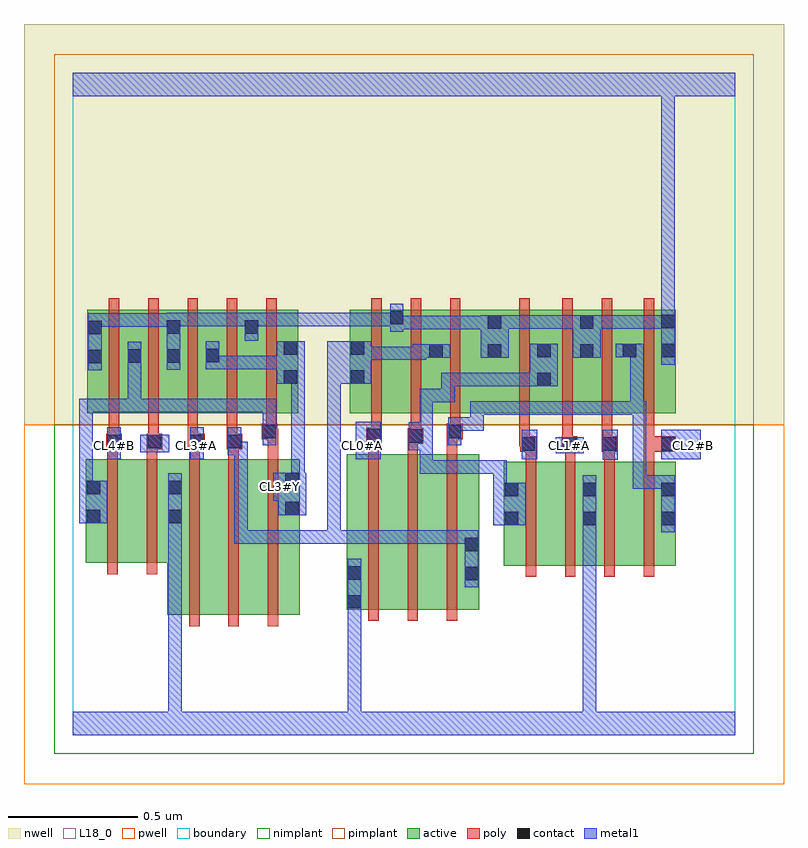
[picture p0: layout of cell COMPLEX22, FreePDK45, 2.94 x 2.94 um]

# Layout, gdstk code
import gdstk
lib = gdstk.Library(unit=1e-6, precision=1e-09)
def R(c, l, rs):  # rectangles x0, y0, x1, y1
    for r in rs: c.add(gdstk.rectangle(r[:2], r[2:], *l))
def A(c, l, x, y, w, h, nx, ny, dx, dy):  # array of equal rectangles
    R(c, l, [(x+i*dx, y+j*dy, x+i*dx+w, y+j*dy+h) for i in range(nx) for j in range(ny)])
active = (1, 0)
pwell = (2, 0)
nwell = (3, 0)
nimplant = (4, 0)
pimplant = (5, 0)
poly = (9, 0)
contact = (10, 0)
metal1 = (11, 0)
L18_0 = (18, 0)
boundary = (235, 0)

complex22 = lib.new_cell('COMPLEX22')
A(complex22, active, 1.07, 1.244, 0.06, 0.4, 3, 1, 0.152, 0)
A(complex22, active, 1.79, 1.244, 0.06, 0.4, 3, 1, 0.166, 0)
R(complex22, active, [(0.366,0.466,0.546,1.066), (0.546,0.466,0.698,1.066), (0.698,0.466,0.878,1.066), (1.058,0.486,1.238,1.086), (1.058,0.486,1.118,0.818), (1.238,0.486,1.39,1.086), (1.39,0.486,1.57,1.086), (1.51,0.504,1.57,1.086), (0.818,0.556,0.878,1.066), (1.666,0.656,1.846,1.056), (1.846,0.656,2.026,1.056), (1.966,0.656,2.15,1.056), (2.15,0.656,2.33,1.056), (2.27,0.656,2.33,1.056), (0.05,0.666,0.11,1.066), (0.05,0.666,0.23,1.066), (0.23,0.666,0.426,1.066), (0.366,0.756,0.426,0.988), (1.666,0.756,1.726,1.056), (1.966,0.756,2.026,0.98), (0.056,1.244,0.116,1.644), (0.056,1.244,0.268,1.644), (0.208,1.244,0.42,1.644), (0.36,1.244,0.57,1.644), (0.51,1.244,0.72,1.644), (0.66,1.244,0.872,1.644), (0.812,1.244,0.872,1.644), (1.07,1.244,1.282,1.644), (1.222,1.244,1.434,1.644), (1.374,1.244,1.66,1.644), (1.6,1.244,1.66,1.644), (1.6,1.244,1.85,1.644), (1.79,1.244,2.016,1.644), (1.956,1.244,2.182,1.644), (2.122,1.244,2.33,1.644), (2.27,1.244,2.33,1.644), (0.51,1.31,0.57,1.644), (0.36,1.338,0.42,1.644), (0.208,1.436,0.268,1.644), (0.66,1.548,0.72,1.644)])
R(complex22, pwell, [(-0.188,-0.188,2.748,1.2)])
R(complex22, nwell, [(-0.188,1.2,2.748,2.748)])
R(complex22, nimplant, [(-0.072,-0.072,2.632,1.2)])
R(complex22, pimplant, [(-0.072,1.2,2.632,2.632)])
A(complex22, poly, 0.45, 0.422, 0.04, 0.688, 3, 1, 0.152, 0)
A(complex22, poly, 1.142, 0.442, 0.04, 0.688, 3, 1, 0.152, 0)
A(complex22, poly, 1.75, 0.612, 0.04, 0.488, 4, 1, 0.152, 0)
A(complex22, poly, 1.75, 1.06, 0.04, 0.076, 4, 1, 0.152, 0)
A(complex22, poly, 0.14, 1.126, 0.04, 0.114, 4, 1, 0.152, 0)
A(complex22, poly, 0.14, 1.2, 0.04, 0.488, 5, 1, 0.152, 0)
A(complex22, poly, 1.154, 1.2, 0.04, 0.488, 3, 1, 0.152, 0)
R(complex22, poly, [(0.134,0.622,0.174,1.11), (0.286,0.622,0.326,1.11), (0.134,1.07,0.174,1.146), (0.286,1.07,0.326,1.146), (0.45,1.07,0.49,1.146), (0.602,1.07,0.642,1.146), (0.754,1.07,0.794,1.184), (1.142,1.09,1.182,1.168), (1.294,1.09,1.334,1.166), (1.446,1.09,1.486,1.166), (1.73,1.096,1.79,1.156), (1.89,1.096,1.95,1.156), (2.044,1.096,2.104,1.156), (2.206,1.096,2.33,1.156), (0.13,1.106,0.19,1.166), (0.286,1.106,0.346,1.166), (0.444,1.106,0.51,1.166), (0.596,1.106,0.656,1.166), (1.726,1.116,1.766,1.24), (1.726,1.116,1.77,1.156), (1.73,1.116,1.77,1.156), (1.892,1.116,1.932,1.24), (1.892,1.116,1.932,1.156), (1.892,1.116,1.932,1.156), (2.044,1.116,2.084,1.24), (2.044,1.116,2.084,1.156), (2.044,1.116,2.084,1.156), (2.206,1.116,2.246,1.24), (2.206,1.116,2.246,1.156), (2.206,1.116,2.246,1.156), (0.14,1.126,0.18,1.166), (0.14,1.126,0.18,1.166), (0.292,1.126,0.332,1.166), (0.292,1.126,0.332,1.166), (0.444,1.126,0.484,1.166), (0.444,1.126,0.484,1.166), (0.596,1.126,0.636,1.166), (0.596,1.126,0.636,1.166), (1.294,1.126,1.354,1.186), (1.446,1.126,1.486,1.166), (1.446,1.126,1.486,1.184), (1.134,1.128,1.194,1.188), (1.142,1.128,1.182,1.168), (1.142,1.128,1.182,1.168), (0.73,1.144,0.79,1.204), (0.75,1.144,0.79,1.184), (0.75,1.144,0.794,1.184), (1.446,1.144,1.506,1.204), (1.306,1.146,1.346,1.204), (1.154,1.148,1.194,1.24), (0.748,1.164,0.788,1.24), (1.306,1.164,1.346,1.204), (1.306,1.164,1.346,1.24), (1.458,1.164,1.498,1.24), (1.726,1.2,1.766,1.688), (1.892,1.2,1.932,1.688), (2.044,1.2,2.084,1.688), (2.206,1.2,2.246,1.688)])
R(complex22, contact, [(1.062,0.49,1.114,0.542), (1.514,0.6,1.566,0.652), (1.062,0.602,1.114,0.654), (1.514,0.712,1.566,0.764), (1.67,0.812,1.722,0.864), (1.97,0.812,2.022,0.864), (2.274,0.812,2.326,0.864), (0.054,0.82,0.106,0.872), (0.37,0.82,0.422,0.872), (0.822,0.85,0.874,0.902), (1.67,0.924,1.722,0.976), (1.97,0.924,2.022,0.976), (2.274,0.924,2.326,0.976), (0.054,0.932,0.106,0.984), (0.37,0.932,0.422,0.984), (0.822,0.962,0.874,1.014), (1.734,1.1,1.786,1.152), (1.894,1.1,1.946,1.152), (2.048,1.1,2.1,1.152), (2.274,1.1,2.326,1.152), (0.134,1.11,0.186,1.162), (0.29,1.11,0.342,1.162), (0.454,1.11,0.506,1.162), (0.6,1.11,0.652,1.162), (1.298,1.13,1.35,1.182), (1.138,1.132,1.19,1.184), (0.734,1.148,0.786,1.2), (1.45,1.148,1.502,1.2), (1.794,1.348,1.846,1.4), (0.816,1.358,0.868,1.41), (1.074,1.358,1.126,1.41), (0.06,1.438,0.112,1.49), (0.212,1.44,0.264,1.492), (0.364,1.44,0.416,1.492), (0.514,1.442,0.566,1.494), (1.378,1.458,1.43,1.51), (1.604,1.458,1.656,1.51), (1.96,1.458,2.012,1.51), (1.794,1.46,1.846,1.512), (2.126,1.46,2.178,1.512), (2.274,1.46,2.326,1.512), (0.816,1.47,0.868,1.522), (1.074,1.47,1.126,1.522), (0.06,1.55,0.112,1.602), (0.364,1.552,0.416,1.604), (0.664,1.552,0.716,1.604), (1.604,1.57,1.656,1.622), (1.96,1.57,2.012,1.622), (2.274,1.572,2.326,1.624), (1.226,1.588,1.278,1.64)])
A(complex22, metal1, 1.536, 1.238, 0.162, 0.052, 3, 1, 0.11, 0)
A(complex22, metal1, 1.646, 1.238, 0.052, 0.052, 3, 1, 0.11, 0)
R(complex22, metal1, [(0,0,2.56,0.092), (0.37,0.04,0.422,0.092), (0.37,0.04,0.422,0.092), (0.37,0.04,0.422,0.092), (0.37,0.04,0.422,0.092), (0.37,0.04,0.422,0.092), (0.37,0.04,0.422,0.092), (0.37,0.04,0.422,0.844), (1.062,0.04,1.114,0.092), (1.062,0.04,1.114,0.092), (1.062,0.04,1.114,0.092), (1.062,0.04,1.114,0.092), (1.062,0.04,1.114,0.514), (1.97,0.04,2.022,0.092), (1.97,0.04,2.022,0.092), (1.97,0.04,2.022,0.836), (1.062,0.462,1.114,0.514), (1.062,0.462,1.114,0.514), (1.062,0.462,1.114,0.514), (1.062,0.462,1.114,0.514), (1.062,0.462,1.114,0.682), (1.514,0.572,1.566,0.792), (0.624,0.74,0.676,0.792), (0.624,0.74,0.926,0.792), (0.624,0.74,0.676,1.134), (0.874,0.74,0.926,0.792), (0.874,0.74,0.926,0.792), (0.874,0.74,0.926,0.792), (0.874,0.74,1.036,0.792), (0.984,0.74,1.036,0.792), (0.984,0.74,1.036,0.792), (0.984,0.74,1.036,0.792), (0.984,0.74,1.036,0.792), (0.984,0.74,1.036,0.792), (0.984,0.74,1.036,0.792), (0.984,0.74,1.036,0.792), (0.984,0.74,1.036,0.792), (0.984,0.74,1.036,0.792), (0.984,0.74,1.264,0.792), (0.984,0.74,1.036,1.41), (1.212,0.74,1.264,0.792), (1.212,0.74,1.264,0.792), (1.212,0.74,1.264,0.792), (1.212,0.74,1.392,0.792), (1.34,0.74,1.392,0.792), (1.34,0.74,1.476,0.792), (1.424,0.74,1.476,0.792), (1.424,0.74,1.566,0.792), (1.97,0.784,2.022,0.836), (1.97,0.784,2.022,0.836), (1.97,0.784,2.022,0.836), (1.97,0.784,2.022,0.836), (1.97,0.784,2.022,0.836), (1.97,0.784,2.022,0.836), (1.97,0.784,2.022,0.836), (1.97,0.784,2.022,0.836), (1.97,0.784,2.022,0.836), (1.97,0.784,2.022,0.836), (1.97,0.784,2.022,1.004), (2.274,0.784,2.326,1.004), (0.37,0.792,0.422,0.844), (0.37,0.792,0.422,0.844), (0.37,0.792,0.422,1.012), (1.624,0.812,1.75,0.976), (0.026,0.82,0.134,0.984), (0.794,0.85,0.902,1.014), (0.774,0.906,0.896,1.014), (1.624,0.924,1.676,1.062), (0.026,0.932,0.078,1.3), (2.164,0.952,2.216,1.004), (2.164,0.952,2.326,1.004), (2.164,0.952,2.216,1.29), (2.274,0.952,2.326,1.004), (2.274,0.952,2.326,1.004), (0.822,0.962,0.874,1.014), (0.844,0.962,0.896,1.41), (1.34,1.01,1.518,1.062), (1.34,1.01,1.392,1.154), (1.466,1.01,1.518,1.062), (1.466,1.01,1.518,1.062), (1.466,1.01,1.518,1.062), (1.466,1.01,1.676,1.062), (1.624,1.01,1.676,1.062), (2.048,1.064,2.106,1.18), (0.134,1.066,0.186,1.19), (0.454,1.066,0.506,1.19), (1.094,1.066,1.19,1.212), (1.734,1.066,1.794,1.18), (2.274,1.066,2.426,1.18), (0.6,1.082,0.652,1.19), (0.6,1.082,0.676,1.134), (0.624,1.082,0.676,1.134), (0.624,1.082,0.676,1.134), (0.624,1.082,0.676,1.134), (1.866,1.09,1.974,1.152), (0.262,1.094,0.374,1.162), (1.298,1.102,1.35,1.21), (1.298,1.102,1.392,1.154), (1.34,1.102,1.392,1.154), (1.34,1.102,1.392,1.154), (1.34,1.102,1.392,1.338), (0.734,1.12,0.786,1.3), (1.45,1.12,1.502,1.228), (1.45,1.176,1.588,1.228), (1.536,1.176,1.588,1.29), (1.646,1.238,1.698,1.29), (1.646,1.238,1.698,1.29), (1.866,1.238,1.918,1.29), (1.866,1.238,1.918,1.29), (1.866,1.238,2.206,1.29), (2.154,1.238,2.206,1.29), (2.154,1.238,2.206,1.29), (2.154,1.238,2.206,1.512), (2.154,1.238,2.216,1.29), (2.164,1.238,2.216,1.29), (2.164,1.238,2.216,1.29), (0.026,1.248,0.078,1.3), (0.026,1.248,0.078,1.3), (0.026,1.248,0.078,1.3), (0.026,1.248,0.078,1.3), (0.026,1.248,0.078,1.3), (0.026,1.248,0.264,1.3), (0.212,1.248,0.264,1.3), (0.212,1.248,0.264,1.3), (0.212,1.248,0.264,1.3), (0.212,1.248,0.416,1.3), (0.212,1.248,0.264,1.464), (0.364,1.248,0.416,1.3), (0.364,1.248,0.416,1.3), (0.364,1.248,0.416,1.3), (0.364,1.248,0.526,1.3), (0.474,1.248,0.526,1.3), (0.474,1.248,0.676,1.3), (0.624,1.248,0.676,1.3), (0.624,1.248,0.676,1.3), (0.624,1.248,0.676,1.3), (0.624,1.248,0.786,1.3), (1.34,1.286,1.392,1.338), (1.34,1.286,1.476,1.338), (1.424,1.286,1.476,1.4), (1.424,1.348,1.502,1.4), (1.45,1.348,1.502,1.4), (1.45,1.348,1.628,1.4), (1.576,1.348,1.628,1.4), (1.576,1.348,1.698,1.4), (1.646,1.348,1.698,1.4), (1.646,1.348,1.818,1.4), (1.766,1.348,1.874,1.512), (0.788,1.358,0.896,1.522), (0.844,1.358,0.896,1.41), (0.844,1.358,0.896,1.41), (0.984,1.358,1.154,1.522), (0.06,1.41,0.112,1.63), (0.212,1.412,0.264,1.52), (0.364,1.412,0.416,1.632), (0.514,1.414,0.566,1.466), (0.514,1.414,0.566,1.466), (0.514,1.414,0.566,1.522), (0.514,1.414,0.716,1.466), (0.664,1.414,0.716,1.466), (0.664,1.414,0.84,1.466), (0.788,1.414,0.84,1.466), (0.788,1.414,0.84,1.466), (2.274,1.432,2.326,1.652), (1.102,1.45,1.154,1.502), (1.102,1.45,1.154,1.502), (1.102,1.45,1.282,1.502), (1.23,1.45,1.282,1.502), (1.23,1.45,1.282,1.502), (1.23,1.45,1.282,1.502), (1.23,1.45,1.366,1.502), (1.314,1.45,1.366,1.51), (1.314,1.458,1.402,1.51), (1.35,1.458,1.458,1.51), (1.576,1.458,1.684,1.622), (1.932,1.458,2.04,1.622), (2.098,1.46,2.206,1.512), (0.664,1.524,0.716,1.632), (1.226,1.56,1.278,1.668), (1.226,1.568,1.278,1.62), (1.226,1.568,1.278,1.62), (1.226,1.568,1.392,1.62), (1.34,1.568,1.392,1.62), (1.34,1.568,1.518,1.62), (1.466,1.568,1.518,1.62), (1.466,1.568,1.518,1.62), (1.466,1.568,1.518,1.62), (1.466,1.568,1.628,1.62), (1.632,1.57,1.808,1.622), (1.756,1.57,1.808,1.622), (1.756,1.57,1.808,1.622), (1.756,1.57,1.808,1.622), (1.756,1.57,1.93,1.622), (1.878,1.57,1.93,1.622), (1.878,1.57,1.984,1.622), (1.988,1.57,2.04,1.622), (1.988,1.57,2.04,1.622), (1.988,1.57,2.216,1.622), (2.164,1.57,2.216,1.622), (2.164,1.57,2.326,1.622), (2.274,1.57,2.326,1.622), (2.274,1.57,2.326,1.622), (0.06,1.578,0.112,1.63), (0.06,1.578,0.112,1.63), (0.06,1.578,0.306,1.63), (0.254,1.578,0.306,1.63), (0.254,1.578,0.306,1.63), (0.254,1.578,0.306,1.63), (0.254,1.578,0.416,1.63), (0.364,1.58,0.416,1.632), (0.364,1.58,0.416,1.632), (0.364,1.58,0.526,1.632), (0.474,1.58,0.526,1.632), (0.474,1.58,0.526,1.632), (0.474,1.58,0.526,1.632), (0.474,1.58,0.716,1.632), (0.664,1.58,0.864,1.632), (0.812,1.58,0.864,1.632), (0.812,1.58,0.864,1.632), (0.812,1.58,0.864,1.632), (0.812,1.58,1.154,1.632), (1.102,1.58,1.154,1.632), (1.102,1.58,1.154,1.632), (1.102,1.58,1.154,1.632), (1.102,1.58,1.278,1.632), (2.274,1.6,2.326,1.652), (2.274,1.6,2.326,1.652), (2.274,1.6,2.326,2.52), (0,2.468,2.56,2.56), (2.274,2.468,2.326,2.52), (2.274,2.468,2.326,2.52), (2.274,2.468,2.326,2.52), (2.274,2.468,2.326,2.52), (2.274,2.468,2.326,2.52), (2.274,2.468,2.326,2.52), (2.274,2.468,2.326,2.52), (2.274,2.468,2.326,2.52), (2.274,2.468,2.326,2.52), (2.274,2.468,2.326,2.52), (2.274,2.468,2.326,2.52), (2.274,2.468,2.326,2.52), (2.274,2.468,2.326,2.52), (2.274,2.468,2.326,2.52)])
A(complex22, L18_0, 0.134, 1.094, 0.052, 0.052, 3, 1, 0.16, 0)
A(complex22, L18_0, 1.734, 1.094, 0.052, 0.052, 3, 1, 0.16, 0)
R(complex22, L18_0, [(0,0,2.56,0.092), (0.37,0.04,0.422,0.092), (0.37,0.04,0.422,0.092), (0.37,0.04,0.422,0.092), (0.37,0.04,0.422,0.092), (0.37,0.04,0.422,0.092), (0.37,0.04,0.422,0.092), (0.37,0.04,0.422,0.844), (1.062,0.04,1.114,0.092), (1.062,0.04,1.114,0.092), (1.062,0.04,1.114,0.092), (1.062,0.04,1.114,0.092), (1.062,0.04,1.114,0.514), (1.97,0.04,2.022,0.092), (1.97,0.04,2.022,0.092), (1.97,0.04,2.022,0.836), (1.062,0.462,1.114,0.682), (1.062,0.462,1.114,0.514), (1.062,0.462,1.114,0.514), (1.062,0.462,1.114,0.514), (1.062,0.462,1.114,0.514), (1.97,0.784,2.022,1.004), (1.97,0.784,2.022,0.836), (1.97,0.784,2.022,0.836), (1.97,0.784,2.022,0.836), (1.97,0.784,2.022,0.836), (1.97,0.784,2.022,0.836), (1.97,0.784,2.022,0.836), (1.97,0.784,2.022,0.836), (1.97,0.784,2.022,0.836), (1.97,0.784,2.022,0.836), (1.97,0.784,2.022,0.836), (0.37,0.792,0.422,1.012), (0.37,0.792,0.422,0.844), (0.37,0.792,0.422,0.844), (0.794,0.85,0.902,1.014), (0.774,0.906,0.896,1.014), (0.774,0.934,0.826,0.986), (0.822,0.962,0.874,1.014), (0.844,0.962,0.896,1.41), (2.048,1.064,2.106,1.18), (0.134,1.066,0.186,1.19), (0.454,1.066,0.506,1.19), (1.094,1.066,1.19,1.212), (1.734,1.066,1.794,1.18), (2.274,1.066,2.426,1.18), (1.866,1.09,1.974,1.152), (0.262,1.094,0.374,1.162), (1.094,1.094,1.146,1.146), (2.374,1.094,2.426,1.146), (0.788,1.358,0.896,1.522), (0.844,1.358,0.896,1.41), (0.844,1.358,0.896,1.41), (0.06,1.41,0.112,1.63), (0.364,1.412,0.416,1.632), (0.514,1.414,0.566,1.466), (0.514,1.414,0.566,1.466), (0.514,1.414,0.566,1.522), (0.514,1.414,0.716,1.466), (0.664,1.414,0.716,1.466), (0.664,1.414,0.84,1.466), (0.788,1.414,0.84,1.466), (0.788,1.414,0.84,1.466), (2.274,1.432,2.326,1.652), (1.576,1.458,1.684,1.622), (1.932,1.458,2.04,1.622), (0.664,1.524,0.716,1.632), (1.226,1.56,1.278,1.668), (1.226,1.568,1.278,1.62), (1.226,1.568,1.278,1.62), (1.226,1.568,1.392,1.62), (1.34,1.568,1.392,1.62), (1.34,1.568,1.518,1.62), (1.466,1.568,1.518,1.62), (1.466,1.568,1.518,1.62), (1.466,1.568,1.518,1.62), (1.466,1.568,1.628,1.62), (1.632,1.57,1.808,1.622), (1.756,1.57,1.808,1.622), (1.756,1.57,1.808,1.622), (1.756,1.57,1.808,1.622), (1.756,1.57,1.93,1.622), (1.878,1.57,1.93,1.622), (1.878,1.57,1.984,1.622), (1.988,1.57,2.04,1.622), (1.988,1.57,2.04,1.622), (1.988,1.57,2.216,1.622), (2.164,1.57,2.216,1.622), (2.164,1.57,2.326,1.622), (2.274,1.57,2.326,1.622), (2.274,1.57,2.326,1.622), (0.06,1.578,0.112,1.63), (0.06,1.578,0.112,1.63), (0.06,1.578,0.306,1.63), (0.254,1.578,0.306,1.63), (0.254,1.578,0.306,1.63), (0.254,1.578,0.306,1.63), (0.254,1.578,0.416,1.63), (0.364,1.58,0.416,1.632), (0.364,1.58,0.416,1.632), (0.364,1.58,0.526,1.632), (0.474,1.58,0.526,1.632), (0.474,1.58,0.526,1.632), (0.474,1.58,0.526,1.632), (0.474,1.58,0.716,1.632), (0.664,1.58,0.864,1.632), (0.812,1.58,0.864,1.632), (0.812,1.58,0.864,1.632), (0.812,1.58,0.864,1.632), (0.812,1.58,1.154,1.632), (1.102,1.58,1.154,1.632), (1.102,1.58,1.154,1.632), (1.102,1.58,1.154,1.632), (1.102,1.58,1.278,1.632), (2.274,1.6,2.326,1.652), (2.274,1.6,2.326,1.652), (2.274,1.6,2.326,2.52), (0,2.468,2.56,2.56), (2.274,2.468,2.326,2.52), (2.274,2.468,2.326,2.52), (2.274,2.468,2.326,2.52), (2.274,2.468,2.326,2.52), (2.274,2.468,2.326,2.52), (2.274,2.468,2.326,2.52), (2.274,2.468,2.326,2.52), (2.274,2.468,2.326,2.52), (2.274,2.468,2.326,2.52), (2.274,2.468,2.326,2.52), (2.274,2.468,2.326,2.52), (2.274,2.468,2.326,2.52), (2.274,2.468,2.326,2.52), (2.274,2.468,2.326,2.52)])
R(complex22, boundary, [(0,0,2.56,2.56)])
complex22.add(gdstk.Label('CL0#A', (1.12,1.12), layer=11, texttype=0))
complex22.add(gdstk.Label('CL1#A', (1.92,1.12), layer=11, texttype=0))
complex22.add(gdstk.Label('CL1#B', (1.76,1.12), layer=11, texttype=0))
complex22.add(gdstk.Label('CL2#A', (2.08,1.12), layer=11, texttype=0))
complex22.add(gdstk.Label('CL2#B', (2.4,1.12), layer=11, texttype=0))
complex22.add(gdstk.Label('CL3#A', (0.48,1.12), layer=11, texttype=0))
complex22.add(gdstk.Label('CL3#Y', (0.8,0.96), layer=11, texttype=0))
complex22.add(gdstk.Label('CL4#A', (0.32,1.12), layer=11, texttype=0))
complex22.add(gdstk.Label('CL4#B', (0.16,1.12), layer=11, texttype=0))

lib.write_gds('COMPLEX22.gds')
